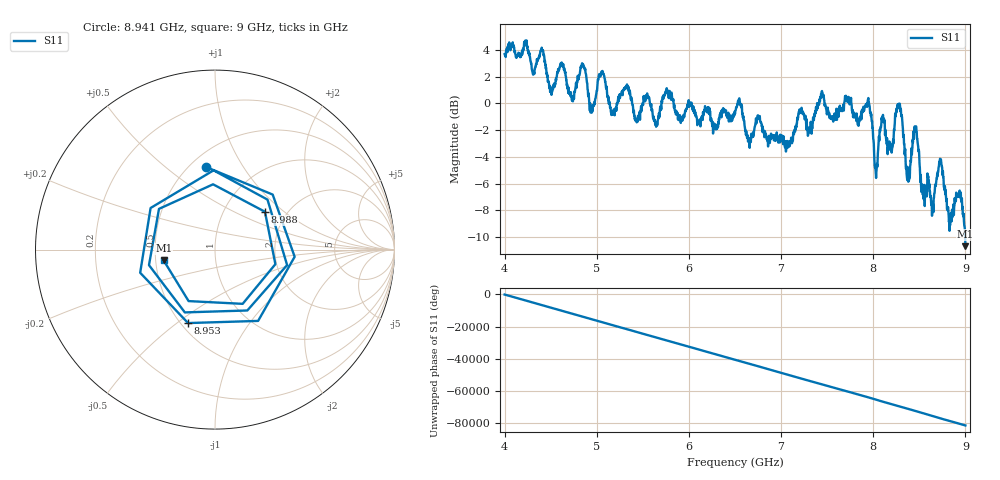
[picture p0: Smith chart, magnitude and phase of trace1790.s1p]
! Created with skrf 1.8.0 (http://scikit-rf.org).
# Hz S RI R 50.0
!freq ReS11 ImS11
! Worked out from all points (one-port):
!   1601 points, 4 GHz to 9 GHz, reference 50 ohm
!   lowest |S11| = -10.7 dB at 9 GHz (marker M1), VSWR 1.83, Z = 27.6 - j3.65 ohm
!   |S11| at or under -10 dB: 8.997595 GHz to end of sweep
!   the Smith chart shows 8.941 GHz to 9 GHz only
!   S11 on the Smith chart (normalised r, x): 8.941 GHz: 0.60, +0.70; 8.953 GHz: 0.54, -0.55; 8.988 GHz: 1.55, +0.75; 9 GHz: 0.55, -0.07
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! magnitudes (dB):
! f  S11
! 4 GHz  3.7
! 4.406 GHz  4.0
! 4.509 GHz  0.6
! 4.625 GHz  3.0
! 4.731 GHz  0.2
! 4.856 GHz  2.8
! 4.944 GHz  -0.3
! 5.047 GHz  2.2
! 5.169 GHz  -0.9
! 5.25 GHz  0.4
! 5.875 GHz  -0.8
! 6.5 GHz  -0.8
! 7.125 GHz  -2.6
! 7.75 GHz  0.2
! 7.953 GHz  0.1
! 8.031 GHz  -5.6
! 8.094 GHz  -1.2
! 8.194 GHz  -3.5
! 8.281 GHz  -0.1
! 8.375 GHz  -5.6
! 8.453 GHz  -2.1
! 8.544 GHz  -6.8
! 8.725 GHz  -4.1
! 8.828 GHz  -9.5
! 8.941 GHz  -6.7
! 8.953 GHz  -7.2
! 8.988 GHz  -9.1
! 9 GHz  -10.7
